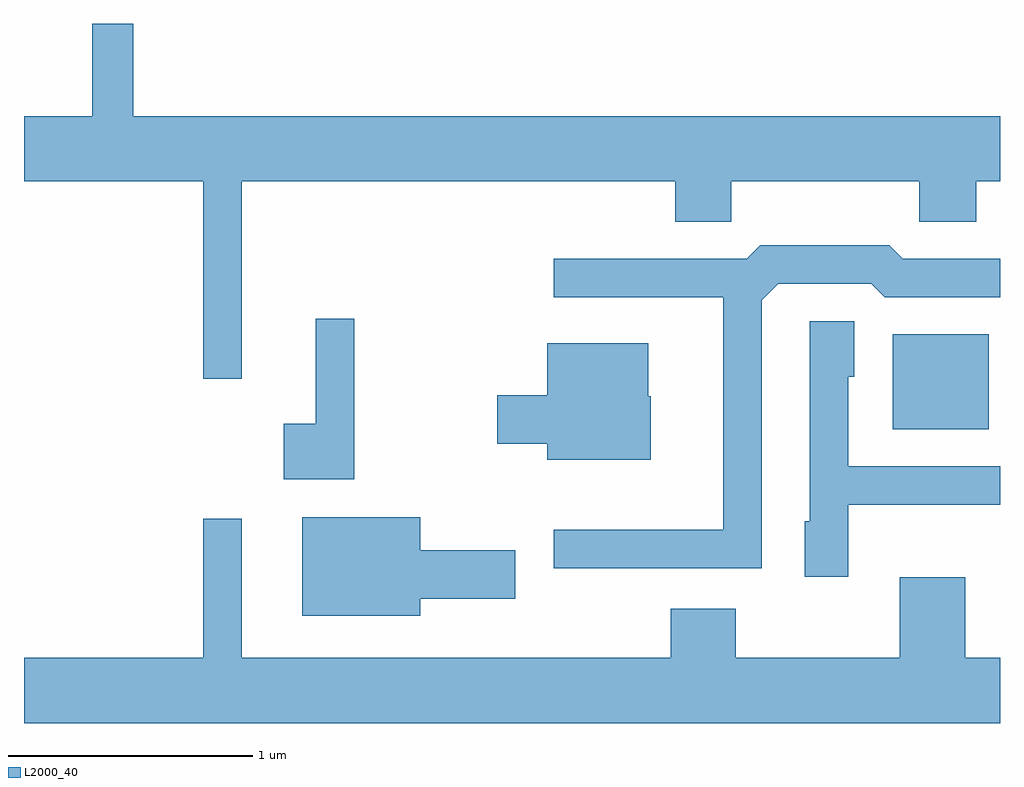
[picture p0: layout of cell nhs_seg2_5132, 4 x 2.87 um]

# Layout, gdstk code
import gdstk
lib = gdstk.Library(unit=1e-6, precision=1e-09)
def R(c, l, rs):  # rectangles x0, y0, x1, y1
    for r in rs: c.add(gdstk.rectangle(r[:2], r[2:], *l))
def P(c, l, *ps):  # polygons
    for p in ps: c.add(gdstk.Polygon(p, *l))
L2000_40 = (2000, 40)

nhs_seg2_5132 = lib.new_cell('nhs_seg2_5132')
R(nhs_seg2_5132, L2000_40, [(339.171,1096.141,339.564,1096.529)])
P(nhs_seg2_5132, L2000_40, [(336.504,1097.156),(338.281,1097.156),(338.281,1096.991),(338.509,1096.991),(338.509,1097.156),(339.281,1097.156),(339.281,1096.991),(339.514,1096.991),(339.514,1097.156),(339.611,1097.156),(339.611,1097.424),(336.059,1097.424),(336.059,1097.802),(335.891,1097.802),(335.891,1097.424),(335.611,1097.424),(335.611,1097.156),(336.346,1097.156),(336.346,1096.348),(336.504,1096.348)],
  [(338.634,1096.669),(338.702,1096.736),(339.084,1096.736),(339.139,1096.681),(339.611,1096.681),(339.611,1096.839),(339.212,1096.839),(339.157,1096.894),(338.629,1096.894),(338.574,1096.839),(337.783,1096.839),(337.783,1096.681),(338.476,1096.681),(338.476,1095.729),(337.783,1095.729),(337.783,1095.571),(338.634,1095.571)],
  [(336.964,1096.593),(336.806,1096.593),(336.806,1096.164),(336.676,1096.164),(336.676,1095.936),(336.964,1095.936)],
  [(338.989,1095.831),(339.611,1095.831),(339.611,1095.989),(338.989,1095.989),(338.989,1096.356),(339.014,1096.356),(339.014,1096.584),(338.831,1096.584),(338.831,1095.764),(338.811,1095.764),(338.811,1095.536),(338.989,1095.536)],
  [(338.179,1096.275),(338.169,1096.275),(338.169,1096.494),(337.756,1096.494),(337.756,1096.279),(337.551,1096.279),(337.551,1096.081),(337.756,1096.081),(337.756,1096.016),(338.179,1096.016)],
  [(337.234,1095.446),(337.624,1095.446),(337.624,1095.644),(337.234,1095.644),(337.234,1095.779),(336.751,1095.779),(336.751,1095.376),(337.234,1095.376)],
  [(339.611,1095.204),(339.469,1095.204),(339.469,1095.534),(339.201,1095.534),(339.201,1095.204),(338.529,1095.204),(338.529,1095.404),(338.261,1095.404),(338.261,1095.204),(336.504,1095.204),(336.504,1095.773),(336.346,1095.773),(336.346,1095.204),(335.611,1095.204),(335.611,1094.936),(339.611,1094.936)])

lib.write_gds('nhs_seg2_5132.gds')
